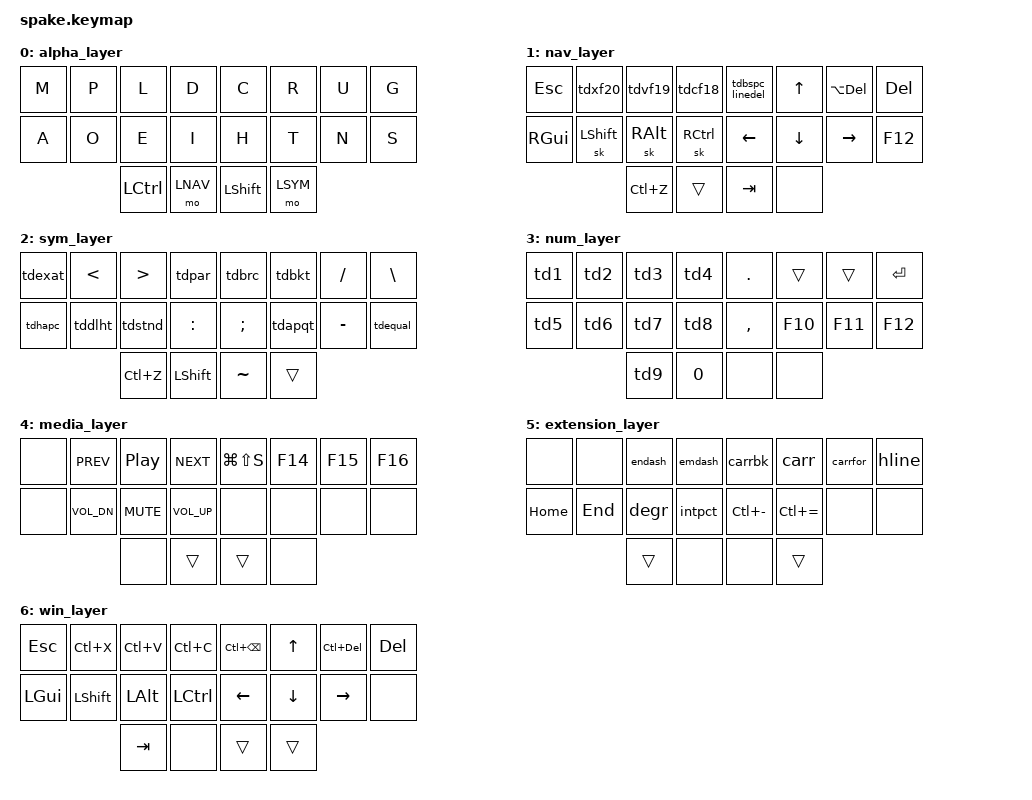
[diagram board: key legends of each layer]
#include <behaviors.dtsi>
#include <dt-bindings/zmk/keys.h>
#include <dt-bindings/zmk/bt.h>

#define LALPHA 0
#define LNAV 1
#define LSYM 2
#define LNUM 3
#define LMED 4
#define LEXT 5
#define LWIN 6

/ {

	macros {
        pths: parentheses {
            label = "Double parentheses";
            compatible = "zmk,behavior-macro";
            #binding-cells = <0>;
	    wait-ms = <40>;
	    tap-ms = <40>;
            bindings
                = <&kp LPAR &kp RPAR>
                , <&kp LEFT>
                ;
        };
	braces: braces {
            label = "Double braces";
            compatible = "zmk,behavior-macro";
            #binding-cells = <0>;
	    wait-ms = <40>;
	    tap-ms = <40>;
            bindings
                = <&kp LBRC &kp RBRC>
                , <&kp LEFT>
                ;
        };
	bkts: brackets {
            label = "Double brackets";
            compatible = "zmk,behavior-macro";
            #binding-cells = <0>;
	    wait-ms = <40>;
	    tap-ms = <40>;
            bindings
                = <&kp LBKT &kp RBKT &kp LEFT>
                ;
        };
    	assign: assign {
            label = "Assignment syntax";
            compatible = "zmk,behavior-macro";
            #binding-cells = <0>;
	    wait-ms = <40>;
	    tap-ms = <40>;
            bindings
                = <&kp SPACE &kp EQUAL &kp SPACE>
                ;
        };
	wh: wh {
            label = "wh digraph";
            compatible = "zmk,behavior-macro";
            #binding-cells = <0>;
	    wait-ms = <40>;
	    tap-ms = <40>;
            bindings
                = <&kp W &kp H>
                ;
        };
	carr: carriage_ret {
            label = "end_line_carriage_ret";
            compatible = "zmk,behavior-macro";
            #binding-cells = <0>;
	    wait-ms = <40>;
	    tap-ms = <40>;
            bindings
                = <&kp END &kp ENTER>
                ;
        };
	carrbk: carriage_ret_back {
            label = "end_line_carriage_ret_back";
            compatible = "zmk,behavior-macro";
            #binding-cells = <0>;
	    wait-ms = <40>;
	    tap-ms = <40>;
            bindings
                = <&kp END &kp ENTER &kp LS(TAB)>
                ;
        };
	carrfor: carriage_ret_forward {
            label = "end_line_carriage_ret_forward";
            compatible = "zmk,behavior-macro";
            #binding-cells = <0>;
	    wait-ms = <40>;
	    tap-ms = <40>;
            bindings
                = <&kp END &kp ENTER &kp TAB>
                ;
        };
	hline: highlight_line {
            label = "highlight_line";
            compatible = "zmk,behavior-macro";
            #binding-cells = <0>;
	    wait-ms = <40>;
	    tap-ms = <40>;
            bindings
                = <&kp END &kp LC(LS(LEFT))>
                ;
        };
	emdash: type_emdash {
            label = "emdash";
            compatible = "zmk,behavior-macro";
            #binding-cells = <0>;
	    wait-ms = <40>;
	    tap-ms = <40>;
            bindings = <&macro_press &kp LALT>,
                       <&macro_tap &kp KP_N0 &kp KP_N1 &kp KP_N5 &kp KP_N1>,
                       <&macro_release &kp LALT>;
        };
	endash: type_endash {
            label = "endash";
            compatible = "zmk,behavior-macro";
            #binding-cells = <0>;
	    wait-ms = <40>;
	    tap-ms = <40>;
            bindings = <&macro_press &kp LALT>,
                       <&macro_tap &kp KP_N0 &kp KP_N1 &kp KP_N5 &kp KP_N0>,
                       <&macro_release &kp LALT>;
        };
	intpct: type_interpunct {
            label = "intpct";
            compatible = "zmk,behavior-macro";
            #binding-cells = <0>;
	    wait-ms = <40>;
	    tap-ms = <40>;
            bindings = <&macro_press &kp LALT>,
                       <&macro_tap &kp KP_N0 &kp KP_N1 &kp KP_N8 &kp KP_N3>,
                       <&macro_release &kp LALT>;
        };
	degr: type_degree {
            label = "degr";
            compatible = "zmk,behavior-macro";
            #binding-cells = <0>;
	    wait-ms = <40>;
	    tap-ms = <40>;
            bindings = <&macro_press &kp LALT>,
                       <&macro_tap &kp KP_N0 &kp KP_N1 &kp KP_N7 &kp KP_N6>,
                       <&macro_release &kp LALT>;
        };
    };

    combos {
        compatible = "zmk,combos";
        combo_COMMA {
            timeout-ms = <50>;
            key-positions = <4 5>;
            bindings = <&kp COMMA>;
        };
	combo_PERIOD {
            timeout-ms = <50>;
            key-positions = <2 3>;
            bindings = <&kp PERIOD>;
        };
	combo_backspace {
            timeout-ms = <50>;
            key-positions = <10 11>;
            bindings = <&kp BACKSPACE>;
        };
	combo_space {
            timeout-ms = <50>;
            key-positions = <12 13>;
            bindings = <&kp SPACE>;
        };
	combo_ret {
            timeout-ms = <50>;
            key-positions = <0 1>;
	    layers = <0>;
            bindings = <&kp ENTER>;
        };
	combo_q {
            timeout-ms = <50>;
            key-positions = <1 2 3>;
	    layers = <0>;
            bindings = <&kp Q>;
        };
	combo_change_window {
            timeout-ms = <50>;
            key-positions = <1 2>;
	    layers = <0>;
            bindings = <&kp LA(TILDE)>;
        };
	combo_change_app {
            timeout-ms = <50>;
            key-positions = <9 10>;
	    layers = <0>;
            bindings = <&kp LA(TAB)>;
        };
	combo_x {
            timeout-ms = <50>;
            key-positions = <0 8>;
	    layers = <0>;
            bindings = <&kp X>;
        };
	combo_b {
            timeout-ms = <50>;
            key-positions = <1 9>;
	    layers = <0>;
            bindings = <&kp B>;
        };
	combo_y {
            timeout-ms = <50>;
            key-positions = <3 11>;
	    layers = <0>;
            bindings = <&kp Y>;
        };
	combo_k {
            timeout-ms = <50>;
            key-positions = <2 10>;
	    layers = <0>;
            bindings = <&kp K>;
        };
	combo_ret2 {
            timeout-ms = <50>;
            key-positions = <6 7>;
	    layers = <0>;
            bindings = <&kp ENTER>;
        };
	combo_j {
            timeout-ms = <50>;
            key-positions = <4 5 6>;
	    layers = <0>;
            bindings = <&kp J>;
        };
	combo_f {
            timeout-ms = <50>;
            key-positions = <4 12>;
	    layers = <0>;
            bindings = <&kp F>;
        };
	combo_w {
            timeout-ms = <50>;
            key-positions = <5 13>;
	    layers = <0>;
            bindings = <&kp W>;
        };
	combo_v {
            timeout-ms = <50>;
            key-positions = <6 14>;
	    layers = <0>;
            bindings = <&kp V>;
        };
	combo_z {
            timeout-ms = <50>;
            key-positions = <7 15>;
	    layers = <0>;
            bindings = <&kp Z>;
        };
	combo_wh {
            timeout-ms = <50>;
            key-positions = <5 12 13>;
	    layers = <0>;
            bindings = <&wh>;
        };
	combo_apo {
            timeout-ms = <50>;
            key-positions = <13 14>;
	    layers = <0>;
            bindings = <&kp APOSTROPHE>;
        };
	combo_tab2 {
            timeout-ms = <50>;
            key-positions = <8 9>;
	    layers = <0>;
            bindings = <&kp TAB>;
        };
	combo_tilde {
            timeout-ms = <50>;
            key-positions = <14 15>;
	    layers = <0>;
            bindings = <&kp GRAVE>;
        };
	combo_layer_media {
            timeout-ms = <50>;
            key-positions = <17 18>;
	    layers = <0>;
            bindings = <&mo LMED>;
        };
	combo_layer_win {
            timeout-ms = <50>;
            key-positions = <18 19>;
	    layers = <0>;
            bindings = <&mo LWIN>;
        };
	combo_layer_num {
            timeout-ms = <50>;
            key-positions = <5 6>;
	    layers = <0>;
            bindings = <&mo LNUM>;
        };
	combo_layer_extended {
            timeout-ms = <50>;
            key-positions = <16 19>;
	    layers = <0>;
            bindings = <&mo LEXT>;
        };
    };

        behaviors {
    tdxf20: tap_dance_cut_f20 {
            compatible = "zmk,behavior-tap-dance";
            label = "TAP_DANCE_cut";
            #binding-cells = <0>;
            tapping-term-ms = <200>;
            bindings = <&kp LC(X)>, <&kp F20>;
        };
   tdvf19: tap_dance_paste_f19 {
            compatible = "zmk,behavior-tap-dance";
            label = "TAP_DANCE_paste";
            #binding-cells = <0>;
            tapping-term-ms = <200>;
            bindings = <&kp LC(V)>, <&kp F19>;
        };
   tdcf18: tap_dance_copy {
            compatible = "zmk,behavior-tap-dance";
            label = "TAP_DANCE_copy";
            #binding-cells = <0>;
            tapping-term-ms = <200>;
            bindings = <&kp LC(C)>, <&kp F18>;
        };
    td1: tap_dance_1_F1 {
            compatible = "zmk,behavior-tap-dance";
            label = "TAP_DANCE_1";
            #binding-cells = <0>;
            tapping-term-ms = <200>;
            bindings = <&kp N1>, <&kp F1>;
        };
    td2: tap_dance_2_F2 {
            compatible = "zmk,behavior-tap-dance";
            label = "TAP_DANCE_2";
            #binding-cells = <0>;
            tapping-term-ms = <200>;
            bindings = <&kp N2>, <&kp F2>;
        };
    td3: tap_dance_3_F3 {
            compatible = "zmk,behavior-tap-dance";
            label = "TAP_DANCE_3";
            #binding-cells = <0>;
            tapping-term-ms = <200>;
            bindings = <&kp N3>, <&kp F3>;
        };
    td4: tap_dance_4_F4 {
            compatible = "zmk,behavior-tap-dance";
            label = "TAP_DANCE_4";
            #binding-cells = <0>;
            tapping-term-ms = <200>;
            bindings = <&kp N4>, <&kp F4>;
        };
    td5: tap_dance_5_F5 {
            compatible = "zmk,behavior-tap-dance";
            label = "TAP_DANCE_5";
            #binding-cells = <0>;
            tapping-term-ms = <200>;
            bindings = <&kp N5>, <&kp F5>;
        };
    td6: tap_dance_6_F6 {
            compatible = "zmk,behavior-tap-dance";
            label = "TAP_DANCE_6";
            #binding-cells = <0>;
            tapping-term-ms = <200>;
            bindings = <&kp N6>, <&kp F6>;
        };
    td7: tap_dance_7_F7 {
            compatible = "zmk,behavior-tap-dance";
            label = "TAP_DANCE_7";
            #binding-cells = <0>;
            tapping-term-ms = <200>;
            bindings = <&kp N7>, <&kp F7>;
        };
    td8: tap_dance_8_F8 {
            compatible = "zmk,behavior-tap-dance";
            label = "TAP_DANCE_8";
            #binding-cells = <0>;
            tapping-term-ms = <200>;
            bindings = <&kp N8>, <&kp F8>;
        };
    td9: tap_dance_9_F9 {
            compatible = "zmk,behavior-tap-dance";
            label = "TAP_DANCE_9";
            #binding-cells = <0>;
            tapping-term-ms = <200>;
            bindings = <&kp N9>, <&kp F9>;
        };
    tdpar: tap_dance_par {
            compatible = "zmk,behavior-tap-dance";
            label = "TAP_DANCE_PAR";
            #binding-cells = <0>;
            tapping-term-ms = <400>;
            bindings = <&pths >, <&kp LPAR>, <&kp RPAR>;
        };
    tdbrc: tap_dance_braces {
            compatible = "zmk,behavior-tap-dance";
            label = "TAP_DANCE_BRACES";
            #binding-cells = <0>;
            tapping-term-ms = <400>;
            bindings = <&braces >, <&kp LBRC>, <&kp RBRC>;
        };
    tdbkt: tap_dance_bkt {
            compatible = "zmk,behavior-tap-dance";
            label = "TAP_DANCE_BKTS";
            #binding-cells = <0>;
            tapping-term-ms = <400>;
            bindings = <&bkts >, <&kp LBKT>, <&kp RBKT>;
        };

    tdexat: tap_dance_ex_at {
            compatible = "zmk,behavior-tap-dance";
            label = "TAP_DANCE_EX_AT";
            #binding-cells = <0>;
            tapping-term-ms = <200>;
            bindings = <&kp EXCLAMATION>, <&kp AT>;
        };
    tdhapc: tap_dance_hash_perc {
            compatible = "zmk,behavior-tap-dance";
            label = "TAP_DANCE_HASH_PERC";
            #binding-cells = <0>;
            tapping-term-ms = <200>;
            bindings = <&kp HASH>, <&kp PERCENT>;
        };
    tddlht: tap_dance_dol_hat {
            compatible = "zmk,behavior-tap-dance";
            label = "TAP_DANCE_DOL_HAT";
            #binding-cells = <0>;
            tapping-term-ms = <200>;
            bindings = <&kp DOLLAR>, <&kp CARET>;
        };
    tdapqt: tap_dance_apo_quote {
            compatible = "zmk,behavior-tap-dance";
            label = "TAP_DANCE_APO_QUOTE";
            #binding-cells = <0>;
            tapping-term-ms = <200>;
            bindings = <&kp APOSTROPHE>, <&kp DOUBLE_QUOTES>;
        };
    tdstnd: tap_dance_star_and {
            compatible = "zmk,behavior-tap-dance";
            label = "TAP_DANCE_STAR_AND";
            #binding-cells = <0>;
            tapping-term-ms = <200>;
            bindings = <&kp ASTERISK>, <&kp AMPERSAND>;
        };
    tdequal: tap_dance_equal {
            compatible = "zmk,behavior-tap-dance";
            label = "TAP_DANCE_EQUAL_PLUS_ASSIGN";
            #binding-cells = <0>;
            tapping-term-ms = <200>;
            bindings = <&kp EQUAL>, <&kp PLUS>, <&assign>;
        };
	tdbspc_linedel: tap_dance_backspace_linedel {
            compatible = "zmk,behavior-tap-dance";
            label = "TAP_DANCE_BSPC_LINEDEL";
            #binding-cells = <0>;
            tapping-term-ms = <150>;
            bindings = <&kp LA(BSPC)>, <&kp LG(BSPC)>;
        };
    };

    keymap {
        compatible = "zmk,keymap";

        alpha_layer {
            bindings = <
            	&kp M		&kp P    	&kp L       &kp D            &kp C		&kp R       &kp U		&kp G
                &kp A    	&kp O    	&kp E	 	&kp I            &kp H		&kp T		&kp N		&kp S
                                        &kp LCTRL 	&mo LNAV         &kp LSHIFT	&mo LSYM
                	>;
        };

        nav_layer {
            bindings = <
            	&kp ESC		&tdxf20	&tdvf19   &tdcf18        &tdbspc_linedel &kp UP    &kp LA(DEL)	&kp DEL
                &kp RGUI   &sk LSHIFT  &sk RALT 	&sk RCTRL	     &kp LEFT	  &kp DOWN	&kp RIGHT	&kp F12
                                        &kp LC(Z) 	&trans           &kp TAB	  &none
                	>;
        };

        sym_layer {
            bindings = <
            	&tdexat		&kp LT    	&kp GT      &tdpar           &tdbrc		&tdbkt      &kp SLASH	&kp BACKSLASH
                &tdhapc    	&tddlht    	&tdstnd	    &kp COLON         &kp SEMI	&tdapqt		&kp MINUS	&tdequal
                                        &kp LC(Z)     	&kp LSHIFT       &kp TILDE	&trans
                	>;
        };

        num_layer {
            bindings = <
            	&td1		&td2    	&td3        	&td4            &kp PERIOD	&trans      &trans	&kp ENTER
                &td5    	&td6    	&td7     	&td8            &kp COMMA	&kp F10      &kp F11	&kp F12
                                        	&td9 	    	&kp N0          &none	    	&none
                	>;
        };

        media_layer {
            bindings = <
            	&none		&kp C_PREV    &kp C_PP    &kp C_NEXT       &kp LG(LS(S)) &kp F14   &kp F15		&kp F16	
                &none       &kp C_VOL_DN  &kp C_MUTE  &kp C_VOL_UP     &none		  &none    	&none		&none
                                          &none 	  &trans           &trans	      &none
                	>;
        };
	
	extension_layer {
            bindings = <
            	&none	&none    &endash    &emdash       	&carrbk		&carr	  	 &carrfor	&hline	
                &kp HOME   &kp END  	 &degr   &intpct		&kp LC(MINUS)	&kp LC(EQUAL)   &none		&none
                                 &trans	  &none         			&none	&trans
                	>;
        };
	win_layer {
            bindings = <
            	&kp ESCAPE	&kp LC(X)    	&kp LC(V)     	&kp LC(C)       &kp LC(BSPC)	&kp UP      &kp LC(DEL)	&kp DEL
                &kp LGUI    	&kp LSHIFT    	&kp LALT     	&kp LCTRL       &kp LEFT	&kp DOWN    &kp RIGHT	&none
                                        	&kp TAB 	&none	        &trans	    &trans
                	>;
        };
    };
};

